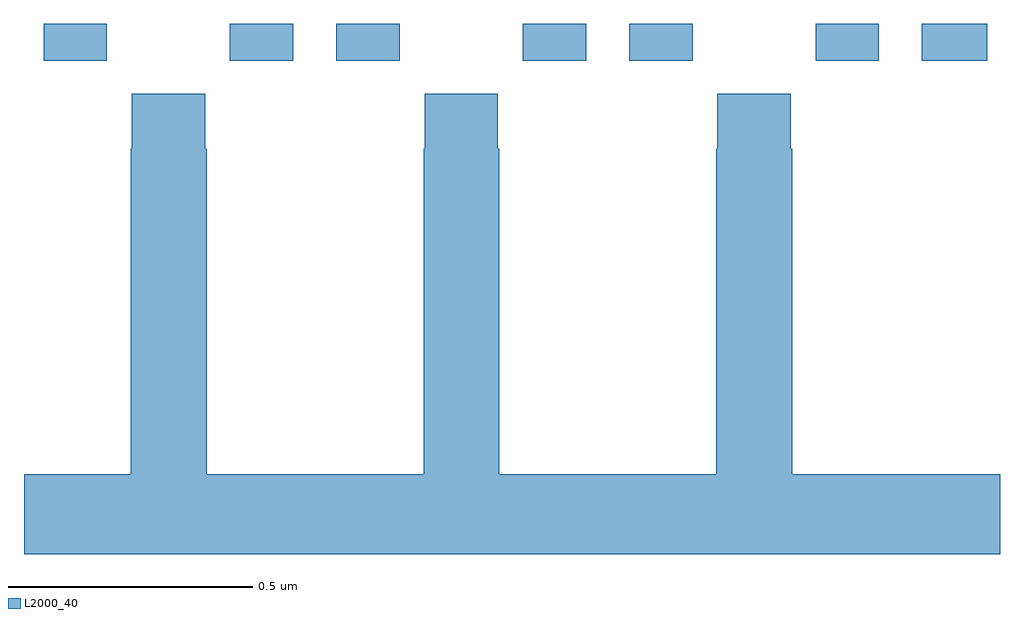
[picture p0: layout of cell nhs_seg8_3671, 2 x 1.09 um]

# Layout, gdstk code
import gdstk
lib = gdstk.Library(unit=1e-6, precision=1e-09)
def R(c, l, rs):  # rectangles x0, y0, x1, y1
    for r in rs: c.add(gdstk.rectangle(r[:2], r[2:], *l))
def P(c, l, *ps):  # polygons
    for p in ps: c.add(gdstk.Polygon(p, *l))
L2000_40 = (2000, 40)

nhs_seg8_3671 = lib.new_cell('nhs_seg8_3671')
R(nhs_seg8_3671, L2000_40, [(160.04,1138.824,160.17,1138.9), (160.422,1138.824,160.552,1138.9), (160.64,1138.824,160.77,1138.9), (161.022,1138.824,161.152,1138.9), (161.24,1138.824,161.37,1138.9), (161.622,1138.824,161.752,1138.9), (161.84,1138.824,161.974,1138.9)])
P(nhs_seg8_3671, L2000_40, [(162,1137.976),(161.574,1137.976),(161.574,1138.643),(161.571,1138.643),(161.571,1138.756),(161.421,1138.756),(161.421,1138.643),(161.419,1138.643),(161.419,1137.976),(160.974,1137.976),(160.974,1138.643),(160.971,1138.643),(160.971,1138.756),(160.821,1138.756),(160.821,1138.643),(160.819,1138.643),(160.819,1137.976),(160.374,1137.976),(160.374,1138.643),(160.371,1138.643),(160.371,1138.756),(160.221,1138.756),(160.221,1138.643),(160.219,1138.643),(160.219,1137.976),(160,1137.976),(160,1137.812),(162,1137.812)])

lib.write_gds('nhs_seg8_3671.gds')
